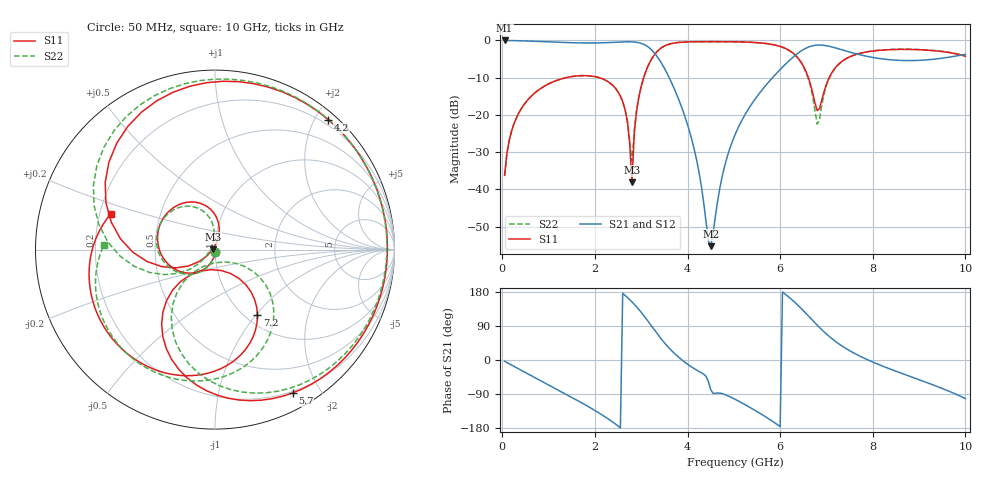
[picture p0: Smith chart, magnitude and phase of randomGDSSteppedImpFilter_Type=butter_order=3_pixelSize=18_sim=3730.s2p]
! freq	dB(S11)	phase(S11)	dB(S12)	phase(S12)
!  dB(S21)	phase(S21)	dB(S22)	phase(S22)
!S-par simulation data
#  GHz  S  DB  R 50
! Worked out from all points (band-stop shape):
!   200 points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, 50 MHz to 10 GHz, reference 50 ohm
!   highest |S21| = -0.01 dB at 50 MHz (marker M1); lowest = -55.3 dB at 4.5 GHz (marker M2)
!   |S21| within 3 dB of the highest: start of sweep to 3.259 GHz; 6.434 GHz to 7.468 GHz (1.034 GHz wide, 14.9 % of centre)
!   lowest |S11| = -38.2 dB at 2.8 GHz (marker M3), VSWR 1.03, Z = 48.8 + j0.261 ohm
!   |S11| at or under -10 dB: start of sweep to 1.378 GHz; 2.09 GHz to 3.054 GHz (963.5 MHz wide, 37.5 % of centre); 6.608 GHz to 7.059 GHz (450.9 MHz wide, 6.6 % of centre)
!   |S22| runs from -36.3 to -0.3 dB; largest |S21 - S12| = 0
!   S11 on the Smith chart (normalised r, x): 50 MHz: 1.00, -0.03; 4.2 GHz: 0.12, +2.20; 5.7 GHz: 0.18, -1.66; 7.2 GHz: 1.13, -1.02; 10 GHz: 0.25, +0.16
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0.05  -36.26 -92.8  -0.01 -3.4  -0.01 -3.4  -36.26 -92.6
0.2  -24.38 -103.7  -0.04 -13.4  -0.04 -13.4  -24.37 -103.0
0.5  -16.74 -124.5  -0.14 -33.1  -0.14 -33.1  -16.74 -122.7
1.75  -9.45 150.7  -0.68 -115.5  -0.68 -115.5  -9.45 157.5
2.55  -14.97 87.1  -0.43 -179.0  -0.43 -179.0  -14.95 99.6
2.7  -21.68 75.1  -0.37 165.2  -0.37 165.2  -21.50 92.7
2.8  -38.16 167.5  -0.39 153.4  -0.39 153.4  -32.43 168.9
2.85  -24.89 -141.8  -0.43 147.0  -0.43 147.0  -24.26 -143.0
2.95  -15.16 -148.5  -0.62 133.2  -0.62 133.2  -15.06 -141.9
3.4  -2.32 140.5  -5.35 60.4  -5.35 60.4  -2.30 152.0
3.75  -0.62 92.9  -14.05 13.7  -14.05 13.7  -0.62 105.8
4.2  -0.35 48.8  -32.35 -27.0  -32.35 -27.0  -0.35 62.5
4.5  -0.33 24.6  -55.28 -78.1  -55.28 -78.1  -0.34 38.3
4.75  -0.34 5.9  -36.47 -88.9  -36.47 -88.9  -0.34 19.4
5.05  -0.38 -15.5  -24.65 -105.1  -24.65 -105.1  -0.38 -2.4
5.7  -0.83 -61.6  -11.93 -151.0  -11.93 -151.0  -0.84 -50.0
6.35  -4.24 -116.3  -3.77 148.4  -3.77 148.4  -4.30 -107.9
6.7  -13.98 -134.5  -1.44 104.7  -1.44 104.7  -14.91 -133.9
6.8  -18.86 -101.8  -1.26 91.9  -1.26 91.9  -22.50 -95.4
7.2  -7.21 -57.1  -2.03 48.4  -2.03 48.4  -7.29 -42.1
8.35  -2.49 -119.5  -5.16 -22.7  -5.16 -22.7  -2.45 -107.4
10  -4.25 160.9  -3.75 -101.8  -3.75 -101.8  -4.16 177.8
